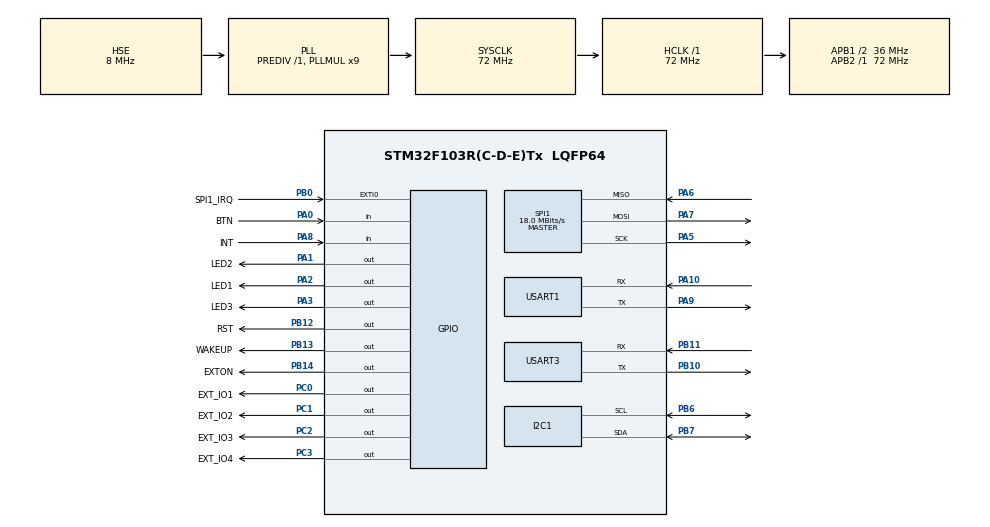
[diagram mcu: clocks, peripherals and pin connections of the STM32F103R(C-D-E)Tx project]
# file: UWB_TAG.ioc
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Mcu.Family=STM32F1
Mcu.Name=STM32F103R(C-D-E)Tx
Mcu.Package=LQFP64
NVIC.EXTI0_IRQn=true\:0\:0\:false\:false\:true\:true\:true\:true
NVIC.PriorityGroup=NVIC_PRIORITYGROUP_4
NVIC.SPI1_IRQn=true\:0\:0\:false\:false\:true\:true\:true\:true
NVIC.USART1_IRQn=true\:0\:0\:false\:false\:true\:true\:true\:true
NVIC.USART3_IRQn=true\:0\:0\:false\:false\:true\:true\:true\:true
PA0-WKUP.GPIO_Label=BTN
PA0-WKUP.Signal=GPIO_Input
PA1.GPIO_Label=LED2
PA1.Signal=GPIO_Output
PA10.Mode=Asynchronous
PA10.Signal=USART1_RX
PA13.Mode=Serial_Wire
PA13.Signal=SYS_JTMS-SWDIO
PA14.Mode=Serial_Wire
PA14.Signal=SYS_JTCK-SWCLK
PA2.GPIO_Label=LED1
PA2.Signal=GPIO_Output
PA3.GPIO_Label=LED3
PA3.Signal=GPIO_Output
PA5.Mode=Full_Duplex_Master
PA5.Signal=SPI1_SCK
PA6.Mode=Full_Duplex_Master
PA6.Signal=SPI1_MISO
PA7.Mode=Full_Duplex_Master
PA7.Signal=SPI1_MOSI
PA8.GPIO_Label=INT
PA8.Signal=GPIO_Input
PA9.Mode=Asynchronous
PA9.Signal=USART1_TX
PB0.GPIO_Label=SPI1_IRQ
PB0.Signal=GPXTI0
PB10.Mode=Asynchronous
PB10.Signal=USART3_TX
PB11.Mode=Asynchronous
PB11.Signal=USART3_RX
PB12.GPIO_Label=RST
PB12.Signal=GPIO_Output
PB13.GPIO_Label=WAKEUP
PB13.Signal=GPIO_Output
PB14.GPIO_Label=EXTON
PB14.Signal=GPIO_Output
PB6.Mode=I2C
PB6.Signal=I2C1_SCL
PB7.Mode=I2C
PB7.Signal=I2C1_SDA
PC0.GPIO_Label=EXT_IO1
PC0.Signal=GPIO_Output
PC1.GPIO_Label=EXT_IO2
PC1.Signal=GPIO_Output
PC2.GPIO_Label=EXT_IO3
PC2.Signal=GPIO_Output
PC3.GPIO_Label=EXT_IO4
PC3.Signal=GPIO_Output
PD0-OSC_IN.Mode=HSE-External-Oscillator
PD0-OSC_IN.Signal=RCC_OSC_IN
PD1-OSC_OUT.Mode=HSE-External-Oscillator
PD1-OSC_OUT.Signal=RCC_OSC_OUT
ProjectManager.HeapSize=0x200
ProjectManager.StackSize=0x400
ProjectManager.TargetToolchain=Makefile
RCC.AHBFreq_Value=72000000
RCC.APB1CLKDivider=RCC_HCLK_DIV2
RCC.APB1Freq_Value=36000000
RCC.APB1TimFreq_Value=72000000
RCC.APB2Freq_Value=72000000
RCC.APB2TimFreq_Value=72000000
RCC.HCLKFreq_Value=72000000
RCC.PLLMUL=RCC_PLL_MUL9
RCC.PLLSourceVirtual=RCC_PLLSOURCE_HSE
RCC.SYSCLKFreq_VALUE=72000000
RCC.SYSCLKSource=RCC_SYSCLKSOURCE_PLLCLK
RCC.USBFreq_Value=72000000
SPI1.BaudRatePrescaler=SPI_BAUDRATEPRESCALER_4
SPI1.CalculateBaudRate=18.0 MBits/s
SPI1.Direction=SPI_DIRECTION_2LINES
SPI1.Mode=SPI_MODE_MASTER
SPI1.VirtualType=VM_MASTER
USART1.VirtualMode=VM_ASYNC
USART3.VirtualMode=VM_ASYNC
board=custom

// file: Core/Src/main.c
/* USER CODE BEGIN Header */
/**
  ******************************************************************************
  * @file           : main.c
  * @brief          : Main program body
  ******************************************************************************
  * @attention
  *
  * Copyright (c) 2023 STMicroelectronics.
  * All rights reserved.
  *
  * This software is licensed under terms that can be found in the LICENSE file
  * in the root directory of this software component.
  * If no LICENSE file comes with this software, it is provided AS-IS.
  *
  ******************************************************************************
  */
/* USER CODE END Header */
#include "main.h"
#include "i2c.h"
#include "spi.h"
#include "usart.h"
#include "gpio.h"

/* USER CODE BEGIN Includes */
#include <stdio.h>
#include <string.h>

#include "deca_device_api.h"
#include "deca_regs.h"
#include "sleep.h"
#include "port.h"
/* USER CODE END Includes */

void SystemClock_Config(void);

/* USER CODE BEGIN 0 */
/* Example application name and version to display on LCD screen. */
#define APP_NAME "SS TWR INIT v1.3"

/* Inter-ranging delay period, in milliseconds. */
#define RNG_DELAY_MS 1000

/* Default communication configuration. We use here EVK1000's mode 4. See NOTE 1 below. */
static dwt_config_t config = {
    2,               /* Channel number. */
    DWT_PRF_64M,     /* Pulse repetition frequency. */
    DWT_PLEN_128,    /* Preamble length. Used in TX only. */
    DWT_PAC8,        /* Preamble acquisition chunk size. Used in RX only. */
    9,               /* TX preamble code. Used in TX only. */
    9,               /* RX preamble code. Used in RX only. */
    0,               /* 0 to use standard SFD, 1 to use non-standard SFD. */
    DWT_BR_6M8,      /* Data rate. */
    DWT_PHRMODE_STD, /* PHY header mode. */
    (129 + 8 - 8)    /* SFD timeout (preamble length + 1 + SFD length - PAC size). Used in RX only. */
};

/* Default antenna delay values for 64 MHz PRF. See NOTE 2 below. */
#define TX_ANT_DLY 16436
#define RX_ANT_DLY 16436

/* Frames used in the ranging process. See NOTE 3 below. */
static uint8 tx_poll_msg[] = {0x41, 0x88, 0, 0xCA, 0xDE, 'W', 'A', 'V', 'E', 0xE0, 0, 0};
static uint8 rx_resp_msg[] = {0x41, 0x88, 0, 0xCA, 0xDE, 'V', 'E', 'W', 'A', 0xE1, 0, 0, 0, 0, 0, 0, 0, 0, 0, 0};
/* Length of the common part of the message (up to and including the function code, see NOTE 3 below). */
#define ALL_MSG_COMMON_LEN 10
/* Indexes to access some of the fields in the frames defined above. */
#define ALL_MSG_SN_IDX 2
#define RESP_MSG_POLL_RX_TS_IDX 10
#define RESP_MSG_RESP_TX_TS_IDX 14
#define RESP_MSG_TS_LEN 4
/* Frame sequence number, incremented after each transmission. */
static uint8 frame_seq_nb = 0;

/* Buffer to store received response message.
 * Its size is adjusted to longest frame that this example code is supposed to handle. */
#define RX_BUF_LEN 20
static uint8 rx_buffer[RX_BUF_LEN];

/* Hold copy of status register state here for reference so that it can be examined at a debug breakpoint. */
static uint32 status_reg = 0;
int i;

/* UWB microsecond (uus) to device time unit (dtu, around 15.65 ps) conversion factor.
 * 1 uus = 512 / 499.2 �s and 1 �s = 499.2 * 128 dtu. */
#define UUS_TO_DWT_TIME 65536

/* Delay between frames, in UWB microseconds. See NOTE 1 below. */
#define POLL_TX_TO_RESP_RX_DLY_UUS 140
/* Receive response timeout. See NOTE 5 below. */
#define RESP_RX_TIMEOUT_UUS 210

/* Speed of light in air, in metres per second. */
#define SPEED_OF_LIGHT 299702547

/* Hold copies of computed time of flight and distance here for reference so that it can be examined at a debug breakpoint. */
static double tof;
static double distance;

/* String used to display measured distance on LCD screen (16 characters maximum). */
char dist_str[16] = {0};

/* Declaration of static functions. */
static void resp_msg_get_ts(uint8 *ts_field, uint32 *ts);
/* USER CODE END 0 */

int main(void)
{

  /* MCU Configuration--------------------------------------------------------*/

  /* Reset of all peripherals, Initializes the Flash interface and the Systick. */
  HAL_Init();

  /* Configure the system clock */
  SystemClock_Config();

  /* Initialize all configured peripherals */
  MX_GPIO_Init();
  MX_SPI1_Init();
  MX_I2C1_Init();
  MX_USART1_UART_Init();
  MX_USART3_UART_Init();
  /* USER CODE BEGIN 2 */
    /* Start with board specific hardware init. */
    //peripherals_init();

    /* Reset and initialise DW1000.
     * For initialisation, DW1000 clocks must be temporarily set to crystal speed. After initialisation SPI rate can be increased for optimum
     * performance. */
    //reset_DW1000(); /* Target specific drive of RSTn line into DW1000 low for a period. */
    // spi_set_rate_low();
    if (dwt_initialise(DWT_LOADUCODE) == DWT_ERROR)
    {
        // lcd_display_str("INIT FAILED");
        //init false
        while (1)
        { };
    }
    // spi_set_rate_high();

    /* Configure DW1000. See NOTE 6 below. */
    dwt_configure(&config);

    /* Apply default antenna delay value. See NOTE 2 below. */
    dwt_setrxantennadelay(RX_ANT_DLY);
    dwt_settxantennadelay(TX_ANT_DLY);

    /* Set expected response's delay and timeout. See NOTE 1 and 5 below.
     * As this example only handles one incoming frame with always the same delay and timeout, those values can be set here once for all. */
    dwt_setrxaftertxdelay(POLL_TX_TO_RESP_RX_DLY_UUS);
    dwt_setrxtimeout(RESP_RX_TIMEOUT_UUS);
  /* USER CODE END 2 */

  /* Infinite loop */
  while (1)
  {

    /* USER CODE BEGIN 3 */
           /* Write frame data to DW1000 and prepare transmission. See NOTE 7 below. */
        tx_poll_msg[ALL_MSG_SN_IDX] = frame_seq_nb;
        dwt_write32bitreg(SYS_STATUS_ID, SYS_STATUS_TXFRS);
        dwt_writetxdata(sizeof(tx_poll_msg), tx_poll_msg, 0); /* Zero offset in TX buffer. */
        dwt_writetxfctrl(sizeof(tx_poll_msg), 0, 1); /* Zero offset in TX buffer, ranging. */

        /* Start transmission, indicating that a response is expected so that reception is enabled automatically after the frame is sent and the delay
         * set by dwt_setrxaftertxdelay() has elapsed. */
        dwt_starttx(DWT_START_TX_IMMEDIATE | DWT_RESPONSE_EXPECTED);

        /* We assume that the transmission is achieved correctly, poll for reception of a frame or error/timeout. See NOTE 8 below. */
        while (!((status_reg = dwt_read32bitreg(SYS_STATUS_ID)) & (SYS_STATUS_RXFCG | SYS_STATUS_ALL_RX_TO | SYS_STATUS_ALL_RX_ERR)))
        { };

        /* Increment frame sequence number after transmission of the poll message (modulo 256). */
        frame_seq_nb++;

        if (status_reg & SYS_STATUS_RXFCG)
        {
            uint32 frame_len;

            /* Clear good RX frame event in the DW1000 status register. */
            dwt_write32bitreg(SYS_STATUS_ID, SYS_STATUS_RXFCG);

            /* A frame has been received, read it into the local buffer. */
            frame_len = dwt_read32bitreg(RX_FINFO_ID) & RX_FINFO_RXFLEN_MASK;
            if (frame_len <= RX_BUF_LEN)
            {
                dwt_readrxdata(rx_buffer, frame_len, 0);
            }

            /* Check that the frame is the expected response from the companion "SS TWR responder" example.
             * As the sequence number field of the frame is not relevant, it is cleared to simplify the validation of the frame. */
            rx_buffer[ALL_MSG_SN_IDX] = 0;
            if (memcmp(rx_buffer, rx_resp_msg, ALL_MSG_COMMON_LEN) == 0)
            {
                uint32 poll_tx_ts, resp_rx_ts, poll_rx_ts, resp_tx_ts;
                int32 rtd_init, rtd_resp;
                float clockOffsetRatio ;

                /* Retrieve poll transmission and response reception timestamps. See NOTE 9 below. */
                poll_tx_ts = dwt_readtxtimestamplo32();
                resp_rx_ts = dwt_readrxtimestamplo32();

                /* Read carrier integrator value and calculate clock offset ratio. See NOTE 11 below. */
                //tính toán độ lệch tần số giữa bộ phát và bộ thu
                clockOffsetRatio = dwt_readcarrierintegrator() * (FREQ_OFFSET_MULTIPLIER * HERTZ_TO_PPM_MULTIPLIER_CHAN_2 / 1.0e6) ;

                /* Get timestamps embedded in response message. */
                resp_msg_get_ts(&rx_buffer[RESP_MSG_POLL_RX_TS_IDX], &poll_rx_ts);
                resp_msg_get_ts(&rx_buffer[RESP_MSG_RESP_TX_TS_IDX], &resp_tx_ts);

                /* Compute time of flight and distance, using clock offset ratio to correct for differing local and remote clock rates */
                rtd_init = resp_rx_ts - poll_tx_ts;
                rtd_resp = resp_tx_ts - poll_rx_ts;

                tof = ((rtd_init - rtd_resp * (1 - clockOffsetRatio)) / 2.0) * DWT_TIME_UNITS;
                distance = tof * SPEED_OF_LIGHT;

                /* Display computed distance on LCD. */
                sprintf(dist_str, "DIST: %3.2f m", distance);
            }
        }
        else
        {
            /* Clear RX error/timeout events in the DW1000 status register. */
            dwt_write32bitreg(SYS_STATUS_ID, SYS_STATUS_ALL_RX_TO | SYS_STATUS_ALL_RX_ERR);

            /* Reset RX to properly reinitialise LDE operation. */
            dwt_rxreset();
        }

        /* Execute a delay between ranging exchanges. */
        sleep_ms(RNG_DELAY_MS);
    }
  /* USER CODE END 3 */
}

void SystemClock_Config(void)
{
  RCC_OscInitTypeDef RCC_OscInitStruct = {0};
  RCC_ClkInitTypeDef RCC_ClkInitStruct = {0};

  /** Initializes the RCC Oscillators according to the specified parameters
  * in the RCC_OscInitTypeDef structure.
  */
  RCC_OscInitStruct.OscillatorType = RCC_OSCILLATORTYPE_HSE;
  RCC_OscInitStruct.HSEState = RCC_HSE_ON;
  RCC_OscInitStruct.HSEPredivValue = RCC_HSE_PREDIV_DIV1;
  RCC_OscInitStruct.HSIState = RCC_HSI_ON;
  RCC_OscInitStruct.PLL.PLLState = RCC_PLL_ON;
  RCC_OscInitStruct.PLL.PLLSource = RCC_PLLSOURCE_HSE;
  RCC_OscInitStruct.PLL.PLLMUL = RCC_PLL_MUL9;
  if (HAL_RCC_OscConfig(&RCC_OscInitStruct) != HAL_OK)
  {
    Error_Handler();
  }

  /** Initializes the CPU, AHB and APB buses clocks
  */
  RCC_ClkInitStruct.ClockType = RCC_CLOCKTYPE_HCLK|RCC_CLOCKTYPE_SYSCLK
                              |RCC_CLOCKTYPE_PCLK1|RCC_CLOCKTYPE_PCLK2;
  RCC_ClkInitStruct.SYSCLKSource = RCC_SYSCLKSOURCE_PLLCLK;
  RCC_ClkInitStruct.AHBCLKDivider = RCC_SYSCLK_DIV1;
  RCC_ClkInitStruct.APB1CLKDivider = RCC_HCLK_DIV2;
  RCC_ClkInitStruct.APB2CLKDivider = RCC_HCLK_DIV1;

  if (HAL_RCC_ClockConfig(&RCC_ClkInitStruct, FLASH_LATENCY_2) != HAL_OK)
  {
    Error_Handler();
  }
}

/* USER CODE BEGIN 4 */
static void resp_msg_get_ts(uint8 *ts_field, uint32 *ts)
{
    int i;
    *ts = 0;
    for (i = 0; i < RESP_MSG_TS_LEN; i++)
    {
        *ts += ts_field[i] << (i * 8);
    }
}
/* USER CODE END 4 */

void Error_Handler(void)
{
  __disable_irq();
  while (1)
  {
  }
}
